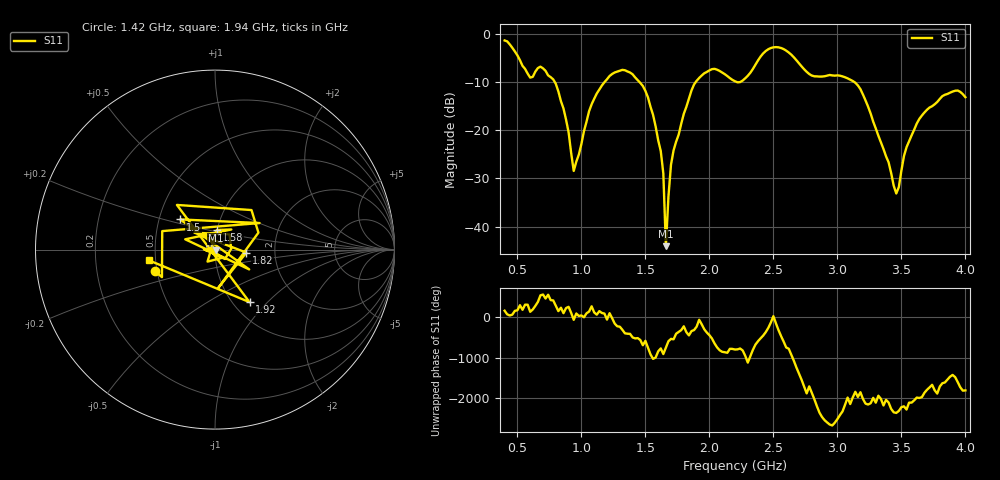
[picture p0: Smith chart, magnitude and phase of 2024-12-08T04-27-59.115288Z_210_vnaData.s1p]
!Created with skrf (http://scikit-rf.org).
# Hz S RI R 50.0
!freq ReS11 ImS11
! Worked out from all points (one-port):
!   181 points, 400 MHz to 4 GHz, reference 50 ohm
!   lowest |S11| = -44.1 dB at 1.66 GHz (marker M1), VSWR 1.01, Z = 50.6 - j0.291 ohm
!   |S11| at or under -10 dB: 792.9 MHz to 1.18 GHz (386.9 MHz wide, 39.2 % of centre); 1.455 GHz to 1.892 GHz (436.8 MHz wide, 26.1 % of centre); 3.135 GHz to end of sweep (the widest 3 of 4)
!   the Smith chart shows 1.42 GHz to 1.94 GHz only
!   S11 on the Smith chart (normalised r, x): 1.42 GHz: 0.49, -0.13; 1.5 GHz: 0.64, +0.23; 1.58 GHz: 1.00, +0.22; 1.82 GHz: 1.42, -0.05; 1.92 GHz: 1.19, -0.79; 1.94 GHz: 0.46, -0.06
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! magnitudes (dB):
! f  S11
! 400 MHz  -1.3
! 600 MHz  -9.0
! 680 MHz  -6.8
! 780 MHz  -9.4
! 860 MHz  -15.5
! 940 MHz  -28.4
! 1.08 GHz  -14.6
! 1.3 GHz  -7.6
! 1.42 GHz  -9.0
! 1.5 GHz  -11.8
! 1.58 GHz  -19.2
! 1.64 GHz  -29.0
! 1.66 GHz  -44.1
! 1.7 GHz  -27.1
! 1.76 GHz  -20.9
! 1.82 GHz  -15.1
! 1.92 GHz  -9.1
! 1.94 GHz  -8.6
! 2.2 GHz  -9.8
! 2.48 GHz  -2.9
! 2.66 GHz  -4.8
! 2.8 GHz  -8.6
! 3.1 GHz  -9.5
! 3.24 GHz  -15.1
! 3.46 GHz  -33.1
! 3.56 GHz  -22.2
! 3.82 GHz  -12.9
! 4 GHz  -13.1
